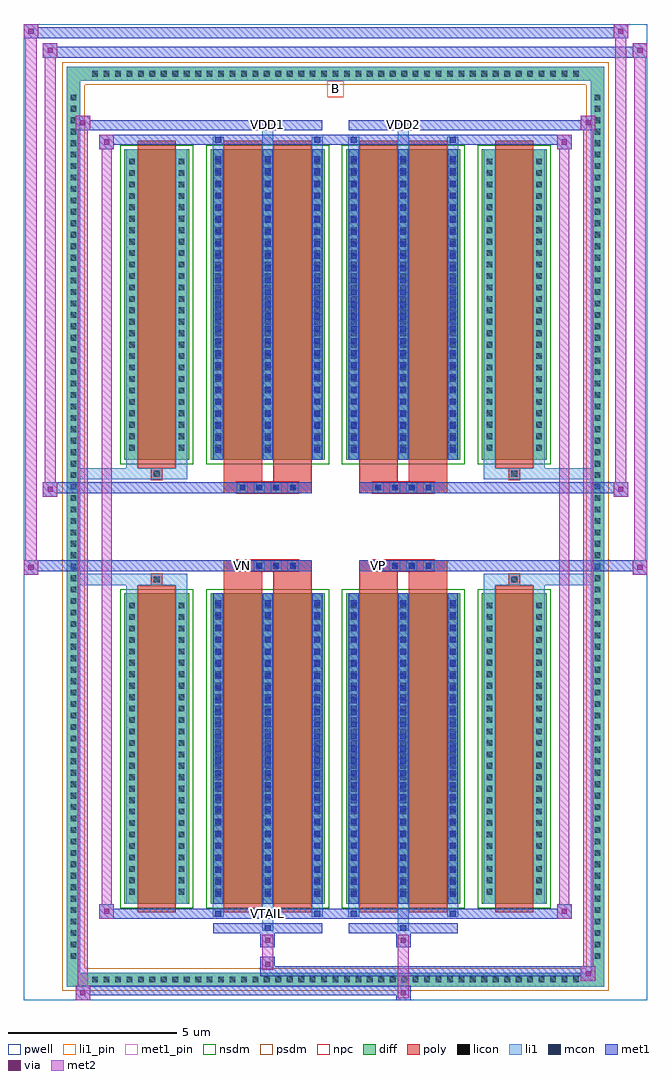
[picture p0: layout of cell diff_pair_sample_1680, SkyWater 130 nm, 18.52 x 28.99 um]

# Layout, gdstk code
import gdstk
lib = gdstk.Library(unit=1e-6, precision=5e-09)
def R(c, l, rs):  # rectangles x0, y0, x1, y1
    for r in rs: c.add(gdstk.rectangle(r[:2], r[2:], *l))
def A(c, l, x, y, w, h, nx, ny, dx, dy):  # array of equal rectangles
    R(c, l, [(x+i*dx, y+j*dy, x+i*dx+w, y+j*dy+h) for i in range(nx) for j in range(ny)])
def P(c, l, *ps):  # polygons
    for p in ps: c.add(gdstk.Polygon(p, *l))
pwell = (64, 44)
diff = (65, 20)
poly = (66, 20)
licon = (66, 44)
li1_pin = (67, 16)
li1 = (67, 20)
mcon = (67, 44)
met1_pin = (68, 16)
met1 = (68, 20)
via = (68, 44)
met2 = (69, 20)
nsdm = (93, 44)
psdm = (94, 20)
npc = (95, 20)

diff_pair_sample_1680 = lib.new_cell('diff_pair_sample_1680')
R(diff_pair_sample_1680, pwell, [(-9.26,-14.06,9.26,14.93), (-6.58,-12.25,-0.01,-0.795), (0.01,-12.25,6.58,-0.795), (-6.58,0.795,-0.01,12.25), (0.01,0.795,6.58,12.25)])
A(diff_pair_sample_1680, diff, -7.345, -13.66, 0.41, 0.41, 43, 2, 0.34, 26.91)
A(diff_pair_sample_1680, diff, -7.99, -12.955, 0.41, 0.41, 1, 76, 0, 0.34)
A(diff_pair_sample_1680, diff, 7.58, -12.955, 0.41, 0.41, 1, 76, 0, 0.34)
R(diff_pair_sample_1680, diff, [(-7.345,-13.66,7.345,-13.25), (-7.99,-12.955,-7.58,12.955), (7.58,-12.955,7.99,12.955), (-6.27,-11.205,-4.35,-1.985), (-3.71,-11.205,-0.32,-1.985), (0.32,-11.205,3.71,-1.985), (4.35,-11.205,6.27,-1.985), (-6.27,1.985,-4.35,11.205), (-3.71,1.985,-0.32,11.205), (0.32,1.985,3.71,11.205), (4.35,1.985,6.27,11.205), (-7.345,13.25,7.345,13.66)])
P(diff_pair_sample_1680, diff, [(7.99,13.66),(-7.99,13.66),(-7.99,-13.25),(-7.58,-13.25),(-7.58,13.25),(7.58,13.25),(7.58,-13.25),(-7.58,-13.25),(-7.99,-13.25),(-7.99,-13.66),(7.99,-13.66)])
A(diff_pair_sample_1680, poly, -2.93, -1.325, 0.33, 0.33, 4, 2, 0.5, 2.32)
A(diff_pair_sample_1680, poly, 1.1, -1.325, 0.33, 0.33, 4, 2, 0.5, 2.32)
R(diff_pair_sample_1680, poly, [(-5.88,-11.455,-4.74,-1.735), (-3.32,-11.455,-2.18,-1.735), (-1.85,-11.455,-0.71,-1.735), (0.71,-11.455,1.85,-1.735), (2.18,-11.455,3.32,-1.735), (4.74,-11.455,5.88,-1.735), (-5.475,-1.735,-5.145,-1.405), (-5.475,-1.735,-5.145,-1.405), (-3.32,-1.735,-2.18,-1.325), (-1.85,-1.735,-0.71,-1.325), (0.71,-1.735,1.85,-1.325), (2.18,-1.735,3.32,-1.325), (5.145,-1.735,5.475,-1.405), (5.145,-1.735,5.475,-1.405), (-3.32,-1.325,-0.71,-0.995), (0.71,-1.325,3.32,-0.995), (-3.32,0.995,-0.71,1.325), (0.71,0.995,3.32,1.325), (-3.32,1.325,-2.18,1.735), (-1.85,1.325,-0.71,1.735), (0.71,1.325,1.85,1.735), (2.18,1.325,3.32,1.735), (-5.475,1.405,-5.145,1.735), (-5.475,1.405,-5.145,1.735), (5.145,1.405,5.475,1.735), (5.145,1.405,5.475,1.735), (-5.88,1.735,-4.74,11.455), (-3.32,1.735,-2.18,11.455), (-1.85,1.735,-0.71,11.455), (0.71,1.735,1.85,11.455), (2.18,1.735,3.32,11.455), (4.74,1.735,5.88,11.455)])
A(diff_pair_sample_1680, licon, -7.225, -13.54, 0.17, 0.17, 43, 2, 0.34, 26.91)
A(diff_pair_sample_1680, licon, -7.87, -12.835, 0.17, 0.17, 1, 76, 0, 0.34)
A(diff_pair_sample_1680, licon, 7.7, -12.835, 0.17, 0.17, 1, 76, 0, 0.34)
A(diff_pair_sample_1680, licon, -6.13, -10.93, 0.17, 0.17, 1, 26, 0, 0.34)
A(diff_pair_sample_1680, licon, -4.66, -10.93, 0.17, 0.17, 1, 26, 0, 0.34)
A(diff_pair_sample_1680, licon, -3.57, -10.93, 0.17, 0.17, 3, 26, 1.47, 0.34)
A(diff_pair_sample_1680, licon, 0.46, -10.93, 0.17, 0.17, 3, 26, 1.47, 0.34)
A(diff_pair_sample_1680, licon, 4.49, -10.93, 0.17, 0.17, 1, 26, 0, 0.34)
A(diff_pair_sample_1680, licon, 5.96, -10.93, 0.17, 0.17, 1, 26, 0, 0.34)
A(diff_pair_sample_1680, licon, -2.85, -1.245, 0.17, 0.17, 4, 2, 0.5, 2.32)
A(diff_pair_sample_1680, licon, 1.18, -1.245, 0.17, 0.17, 4, 2, 0.5, 2.32)
A(diff_pair_sample_1680, licon, -6.13, 2.26, 0.17, 0.17, 1, 26, 0, 0.34)
A(diff_pair_sample_1680, licon, -4.66, 2.26, 0.17, 0.17, 1, 26, 0, 0.34)
A(diff_pair_sample_1680, licon, -3.57, 2.26, 0.17, 0.17, 3, 26, 1.47, 0.34)
A(diff_pair_sample_1680, licon, 0.46, 2.26, 0.17, 0.17, 3, 26, 1.47, 0.34)
A(diff_pair_sample_1680, licon, 4.49, 2.26, 0.17, 0.17, 1, 26, 0, 0.34)
A(diff_pair_sample_1680, licon, 5.96, 2.26, 0.17, 0.17, 1, 26, 0, 0.34)
R(diff_pair_sample_1680, licon, [(-5.395,-1.655,-5.225,-1.485), (5.225,-1.655,5.395,-1.485), (-5.395,1.485,-5.225,1.655), (5.225,1.485,5.395,1.655)])
R(diff_pair_sample_1680, li1_pin, [(-0.25,12.75,0.25,13.25)])
A(diff_pair_sample_1680, li1, -7.305, -13.62, 0.33, 0.33, 43, 2, 0.34, 26.91)
A(diff_pair_sample_1680, li1, -7.95, -12.915, 0.33, 0.33, 1, 76, 0, 0.34)
A(diff_pair_sample_1680, li1, 7.62, -12.915, 0.33, 0.33, 1, 76, 0, 0.34)
A(diff_pair_sample_1680, li1, -3.65, -11.205, 0.33, 9.22, 3, 2, 1.47, 13.19)
A(diff_pair_sample_1680, li1, 0.38, -11.205, 0.33, 9.22, 3, 2, 1.47, 13.19)
A(diff_pair_sample_1680, li1, -6.21, -11.01, 0.33, 0.33, 1, 26, 0, 0.34)
A(diff_pair_sample_1680, li1, -4.74, -11.01, 0.33, 0.33, 1, 26, 0, 0.34)
A(diff_pair_sample_1680, li1, -3.65, -11.01, 0.33, 0.33, 3, 26, 1.47, 0.34)
A(diff_pair_sample_1680, li1, 0.38, -11.01, 0.33, 0.33, 3, 26, 1.47, 0.34)
A(diff_pair_sample_1680, li1, 4.41, -11.01, 0.33, 0.33, 1, 26, 0, 0.34)
A(diff_pair_sample_1680, li1, 5.88, -11.01, 0.33, 0.33, 1, 26, 0, 0.34)
A(diff_pair_sample_1680, li1, -3.57, -11, 0.17, 0.17, 3, 25, 1.47, 0.36)
A(diff_pair_sample_1680, li1, -3.57, -11, 0.17, 8.81, 3, 2, 1.47, 13.19)
A(diff_pair_sample_1680, li1, 0.46, -11, 0.17, 0.17, 3, 25, 1.47, 0.36)
A(diff_pair_sample_1680, li1, 0.46, -11, 0.17, 8.81, 3, 2, 1.47, 13.19)
A(diff_pair_sample_1680, li1, -2.93, -1.325, 0.33, 0.33, 4, 2, 0.5, 2.32)
A(diff_pair_sample_1680, li1, 1.1, -1.325, 0.33, 0.33, 4, 2, 0.5, 2.32)
A(diff_pair_sample_1680, li1, -6.21, 2.18, 0.33, 0.33, 1, 26, 0, 0.34)
A(diff_pair_sample_1680, li1, -4.74, 2.18, 0.33, 0.33, 1, 26, 0, 0.34)
A(diff_pair_sample_1680, li1, -3.65, 2.18, 0.33, 0.33, 3, 26, 1.47, 0.34)
A(diff_pair_sample_1680, li1, 0.38, 2.18, 0.33, 0.33, 3, 26, 1.47, 0.34)
A(diff_pair_sample_1680, li1, 4.41, 2.18, 0.33, 0.33, 1, 26, 0, 0.34)
A(diff_pair_sample_1680, li1, 5.88, 2.18, 0.33, 0.33, 1, 26, 0, 0.34)
A(diff_pair_sample_1680, li1, -3.57, 2.19, 0.17, 0.17, 3, 25, 1.47, 0.36)
A(diff_pair_sample_1680, li1, 0.46, 2.19, 0.17, 0.17, 3, 25, 1.47, 0.36)
R(diff_pair_sample_1680, li1, [(-7.99,-13.66,-7.58,-13.25), (-7.99,-13.66,-7.58,-13.25), (-7.58,-13.66,7.58,-13.25), (7.58,-13.66,7.99,-13.25), (7.58,-13.66,7.99,-13.25), (-7.99,-13.25,-7.58,13.25), (7.58,-13.25,7.99,13.25), (-2.18,-12.01,-1.85,-11.205), (-2.1,-12.01,-1.93,-11.84), (1.85,-12.01,2.18,-11.205), (1.93,-12.01,2.1,-11.84), (-3.65,-11.58,-3.32,-11.205), (-3.57,-11.58,-3.4,-11.41), (-0.71,-11.58,-0.38,-11.205), (-0.63,-11.58,-0.46,-11.41), (0.38,-11.58,0.71,-11.205), (0.46,-11.58,0.63,-11.41), (3.32,-11.58,3.65,-11.205), (3.4,-11.58,3.57,-11.41), (-6.21,-11.205,-5.88,-1.985), (-4.74,-11.205,-4.41,-1.985), (4.41,-11.205,4.74,-1.985), (5.88,-11.205,6.21,-1.985), (-6.21,-1.985,-5.88,-1.405), (-4.74,-1.985,-4.41,-1.405), (4.41,-1.985,4.74,-1.405), (5.88,-1.985,6.21,-1.405), (-7.99,-1.735,-5.475,-1.405), (-6.21,-1.735,-5.475,-1.405), (-5.475,-1.735,-5.145,-1.405), (-5.145,-1.735,-4.41,-1.405), (4.41,-1.735,5.145,-1.405), (5.145,-1.735,5.475,-1.405), (5.145,-1.735,7.99,-1.405), (5.475,-1.735,6.21,-1.405), (-7.99,1.405,-5.475,1.735), (-6.21,1.405,-5.475,1.735), (-6.21,1.405,-5.88,1.985), (-5.475,1.405,-5.145,1.735), (-5.145,1.405,-4.41,1.735), (-4.74,1.405,-4.41,1.985), (4.41,1.405,5.145,1.735), (4.41,1.405,4.74,1.985), (5.145,1.405,5.475,1.735), (5.145,1.405,7.99,1.735), (5.475,1.405,6.21,1.735), (5.88,1.405,6.21,1.985), (-6.21,1.985,-5.88,11.205), (-4.74,1.985,-4.41,11.205), (4.41,1.985,4.74,11.205), (5.88,1.985,6.21,11.205), (-3.65,11.205,-3.32,11.58), (-2.18,11.205,-1.85,12.01), (-0.71,11.205,-0.38,11.58), (0.38,11.205,0.71,11.58), (1.85,11.205,2.18,12.01), (3.32,11.205,3.65,11.58), (-3.57,11.41,-3.4,11.58), (-0.63,11.41,-0.46,11.58), (0.46,11.41,0.63,11.58), (3.4,11.41,3.57,11.58), (-2.1,11.84,-1.93,12.01), (1.93,11.84,2.1,12.01), (-7.99,13.25,-7.58,13.66), (-7.99,13.25,-7.58,13.66), (-7.58,13.25,7.58,13.66), (7.58,13.25,7.99,13.66), (7.58,13.25,7.99,13.66)])
A(diff_pair_sample_1680, mcon, -3.57, -11, 0.17, 0.17, 3, 25, 1.47, 0.36)
A(diff_pair_sample_1680, mcon, 0.46, -11, 0.17, 0.17, 3, 25, 1.47, 0.36)
A(diff_pair_sample_1680, mcon, -2.85, -1.245, 0.17, 0.17, 4, 2, 0.5, 2.32)
A(diff_pair_sample_1680, mcon, 1.18, -1.245, 0.17, 0.17, 4, 2, 0.5, 2.32)
A(diff_pair_sample_1680, mcon, -3.57, 2.19, 0.17, 0.17, 3, 25, 1.47, 0.36)
A(diff_pair_sample_1680, mcon, 0.46, 2.19, 0.17, 0.17, 3, 25, 1.47, 0.36)
R(diff_pair_sample_1680, mcon, [(-2.1,-12.01,-1.93,-11.84), (1.93,-12.01,2.1,-11.84), (-3.57,-11.58,-3.4,-11.41), (-0.63,-11.58,-0.46,-11.41), (0.46,-11.58,0.63,-11.41), (3.4,-11.58,3.57,-11.41), (-3.57,11.41,-3.4,11.58), (-0.63,11.41,-0.46,11.58), (0.46,11.41,0.63,11.58), (3.4,11.41,3.57,11.58), (-2.1,11.84,-1.93,12.01), (1.93,11.84,2.1,12.01)])
R(diff_pair_sample_1680, met1_pin, [(-2.15,-11.62,-1.88,-11.35), (-2.9,-1.285,-2.63,-1.015), (1.13,-1.285,1.4,-1.015), (-2.15,11.8,-1.88,12.07), (1.88,11.8,2.15,12.07)])
A(diff_pair_sample_1680, met1, -3.63, -11.205, 0.29, 9.22, 3, 2, 1.47, 13.19)
A(diff_pair_sample_1680, met1, 0.4, -11.205, 0.29, 9.22, 3, 2, 1.47, 13.19)
A(diff_pair_sample_1680, met1, -3.63, -11.06, 0.29, 0.29, 3, 25, 1.47, 0.36)
A(diff_pair_sample_1680, met1, 0.4, -11.06, 0.29, 0.29, 3, 25, 1.47, 0.36)
A(diff_pair_sample_1680, met1, -2.91, -1.305, 0.29, 0.29, 4, 2, 0.5, 2.32)
A(diff_pair_sample_1680, met1, 1.12, -1.305, 0.29, 0.29, 4, 2, 0.5, 2.32)
A(diff_pair_sample_1680, met1, -3.63, 2.13, 0.29, 0.29, 3, 25, 1.47, 0.36)
A(diff_pair_sample_1680, met1, 0.4, 2.13, 0.29, 0.29, 3, 25, 1.47, 0.36)
R(diff_pair_sample_1680, met1, [(-7.72,-14.06,-7.29,-13.63), (1.8,-14.06,2.23,-13.63), (-7.72,-13.92,2.23,-13.63), (7.29,-13.49,7.72,-13.06), (-2.23,-13.35,7.72,-13.06), (-2.23,-13.21,-1.8,-12.78), (-2.23,-12.5,-1.8,-12.07), (1.8,-12.5,2.23,-12.07), (-3.63,-12.07,-0.4,-11.78), (-2.16,-12.07,-1.87,-11.78), (0.4,-12.07,3.63,-11.78), (1.87,-12.07,2.16,-11.78), (-7.01,-11.64,-6.58,-11.21), (-7.01,-11.64,-3.63,-11.35), (-3.63,-11.64,-3.34,-11.35), (-3.63,-11.64,-0.4,-11.35), (-0.69,-11.64,-0.4,-11.35), (-0.4,-11.64,0.4,-11.35), (0.4,-11.64,0.69,-11.35), (0.4,-11.64,3.63,-11.35), (3.34,-11.64,3.63,-11.35), (3.63,-11.64,7.01,-11.35), (6.58,-11.64,7.01,-11.21), (-9.26,-1.425,-8.83,-0.995), (8.83,-1.425,9.26,-0.995), (-9.26,-1.325,-0.71,-0.995), (-3.32,-1.325,-0.71,-0.995), (0.71,-1.325,3.32,-0.995), (0.71,-1.325,9.26,-0.995), (-8.69,0.895,-8.26,1.325), (8.26,0.895,8.69,1.325), (-8.69,0.995,-3.32,1.325), (-3.32,0.995,-0.71,1.325), (0.71,0.995,3.32,1.325), (3.32,0.995,8.69,1.325), (-7.01,11.21,-6.58,11.64), (6.58,11.21,7.01,11.64), (-7.01,11.35,-3.63,11.64), (-3.63,11.35,-3.34,11.64), (-3.63,11.35,-0.4,11.64), (-0.69,11.35,-0.4,11.64), (-0.4,11.35,0.4,11.64), (0.4,11.35,0.69,11.64), (0.4,11.35,3.63,11.64), (3.34,11.35,3.63,11.64), (3.63,11.35,7.01,11.64), (-7.72,11.78,-7.29,12.21), (-7.72,11.78,-3.63,12.07), (-3.63,11.78,-0.4,12.07), (-2.16,11.78,-1.87,12.07), (0.4,11.78,3.63,12.07), (1.87,11.78,2.16,12.07), (3.63,11.78,7.72,12.07), (7.29,11.78,7.72,12.21), (-8.69,13.93,-8.26,14.36), (-8.69,13.93,-6.58,14.26), (-6.58,13.93,6.58,14.26), (6.58,13.93,9.26,14.26), (8.83,13.93,9.26,14.36), (-9.26,14.5,-8.83,14.93), (-9.26,14.5,-6.58,14.83), (-6.58,14.5,6.58,14.83), (6.58,14.5,8.69,14.83), (8.26,14.5,8.69,14.93)])
R(diff_pair_sample_1680, via, [(-7.58,-13.92,-7.43,-13.77), (1.94,-13.92,2.09,-13.77), (7.43,-13.35,7.58,-13.2), (-2.09,-13.07,-1.94,-12.92), (-2.09,-12.36,-1.94,-12.21), (1.94,-12.36,2.09,-12.21), (-6.87,-11.5,-6.72,-11.35), (6.72,-11.5,6.87,-11.35), (-9.12,-1.285,-8.97,-1.135), (8.97,-1.285,9.12,-1.135), (-8.55,1.035,-8.4,1.185), (8.4,1.035,8.55,1.185), (-6.87,11.35,-6.72,11.5), (6.72,11.35,6.87,11.5), (-7.58,11.92,-7.43,12.07), (7.43,11.92,7.58,12.07), (-8.55,14.07,-8.4,14.22), (8.97,14.07,9.12,14.22), (-9.12,14.64,-8.97,14.79), (8.4,14.64,8.55,14.79)])
R(diff_pair_sample_1680, met2, [(-7.72,-14.06,-7.29,-13.63), (-7.65,-14.06,-7.36,12.21), (-7.36,-14.06,-7.29,-13.63), (-7.67,-14.01,-7.34,-13.68), (1.85,-14.01,2.18,-13.68), (1.85,-13.68,2.18,-12.45), (7.29,-13.49,7.72,-13.06), (7.36,-13.49,7.65,12.21), (7.65,-13.49,7.72,-13.06), (7.34,-13.44,7.67,-13.11), (-2.18,-13.16,-1.85,-12.83), (-2.18,-12.83,-1.85,-12.45), (-2.18,-12.45,-1.85,-12.12), (1.85,-12.45,2.18,-12.12), (-7.01,-11.64,-6.58,-11.21), (-6.94,-11.64,-6.65,11.64), (-6.65,-11.64,-6.58,-11.21), (6.58,-11.64,7.01,-11.21), (6.65,-11.64,6.94,11.64), (6.94,-11.64,7.01,-11.21), (-6.96,-11.59,-6.63,-11.26), (6.63,-11.59,6.96,-11.26), (-9.26,-1.425,-8.83,-0.995), (-9.21,-1.425,-8.88,14.93), (-8.88,-1.425,-8.83,-0.995), (8.83,-1.425,9.26,-0.995), (8.88,-1.425,9.21,14.36), (9.21,-1.425,9.26,-0.995), (-9.21,-1.375,-8.88,-1.045), (8.88,-1.375,9.21,-1.045), (-8.69,0.895,-8.26,1.325), (-8.64,0.895,-8.31,14.36), (-8.31,0.895,-8.26,1.325), (8.26,0.895,8.69,1.325), (8.31,0.895,8.64,14.93), (8.64,0.895,8.69,1.325), (-8.64,0.945,-8.31,1.275), (8.31,0.945,8.64,1.275), (-7.01,11.21,-6.58,11.64), (-6.65,11.21,-6.58,11.64), (6.58,11.21,7.01,11.64), (6.94,11.21,7.01,11.64), (-6.96,11.26,-6.63,11.59), (6.63,11.26,6.96,11.59), (-7.72,11.78,-7.29,12.21), (-7.36,11.78,-7.29,12.21), (7.29,11.78,7.72,12.21), (7.65,11.78,7.72,12.21), (-7.67,11.83,-7.34,12.16), (7.34,11.83,7.67,12.16), (-8.69,13.93,-8.26,14.36), (-8.31,13.93,-8.26,14.36), (8.83,13.93,9.26,14.36), (9.21,13.93,9.26,14.36), (-8.64,13.98,-8.31,14.31), (8.88,13.98,9.21,14.31), (-9.26,14.5,-8.83,14.93), (-8.88,14.5,-8.83,14.93), (8.26,14.5,8.69,14.93), (8.64,14.5,8.69,14.93), (-9.21,14.55,-8.88,14.88), (8.31,14.55,8.64,14.88)])
R(diff_pair_sample_1680, nsdm, [(-6.4,-11.335,-4.22,-1.855), (-3.84,-11.335,-0.19,-1.855), (0.19,-11.335,3.84,-1.855), (4.22,-11.335,6.4,-1.855), (-6.4,1.855,-4.22,11.335), (-3.84,1.855,-0.19,11.335), (0.19,1.855,3.84,11.335), (4.22,1.855,6.4,11.335)])
P(diff_pair_sample_1680, psdm, [(8.12,13.79),(-8.12,13.79),(-8.12,-13.12),(-7.45,-13.12),(-7.45,13.12),(7.45,13.12),(7.45,-13.12),(-7.45,-13.12),(-8.12,-13.12),(-8.12,-13.79),(8.12,-13.79)])
A(diff_pair_sample_1680, npc, -2.95, -1.345, 0.37, 0.37, 4, 2, 0.5, 2.32)
A(diff_pair_sample_1680, npc, 1.08, -1.345, 0.37, 0.37, 4, 2, 0.5, 2.32)
R(diff_pair_sample_1680, npc, [(-5.495,-1.755,-5.125,-1.385), (5.125,-1.755,5.495,-1.385), (-2.95,-1.345,-2.08,-0.975), (-2.95,-1.345,-2.08,-0.975), (-2.45,-1.345,-1.58,-0.975), (-2.45,-1.345,-1.58,-0.975), (-1.95,-1.345,-1.08,-0.975), (-1.95,-1.345,-1.08,-0.975), (1.08,-1.345,1.95,-0.975), (1.08,-1.345,1.95,-0.975), (1.58,-1.345,2.45,-0.975), (1.58,-1.345,2.45,-0.975), (2.08,-1.345,2.95,-0.975), (2.08,-1.345,2.95,-0.975), (-2.95,0.975,-2.08,1.345), (-2.95,0.975,-2.08,1.345), (-2.45,0.975,-1.58,1.345), (-2.45,0.975,-1.58,1.345), (-1.95,0.975,-1.08,1.345), (-1.95,0.975,-1.08,1.345), (1.08,0.975,1.95,1.345), (1.08,0.975,1.95,1.345), (1.58,0.975,2.45,1.345), (1.58,0.975,2.45,1.345), (2.08,0.975,2.95,1.345), (2.08,0.975,2.95,1.345), (-5.495,1.385,-5.125,1.755), (5.125,1.385,5.495,1.755)])
diff_pair_sample_1680.add(gdstk.Label('VTAIL', (-2.015,-11.485), layer=68, texttype=5))
diff_pair_sample_1680.add(gdstk.Label('VN', (-2.765,-1.15), layer=68, texttype=5))
diff_pair_sample_1680.add(gdstk.Label('VP', (1.265,-1.15), layer=68, texttype=5))
diff_pair_sample_1680.add(gdstk.Label('B', (0,13), layer=67, texttype=5))
diff_pair_sample_1680.add(gdstk.Label('VDD2', (2.015,11.935), layer=68, texttype=5))
diff_pair_sample_1680.add(gdstk.Label('VDD1', (-2.015,11.935), layer=68, texttype=5))

lib.write_gds('diff_pair_sample_1680.gds')
